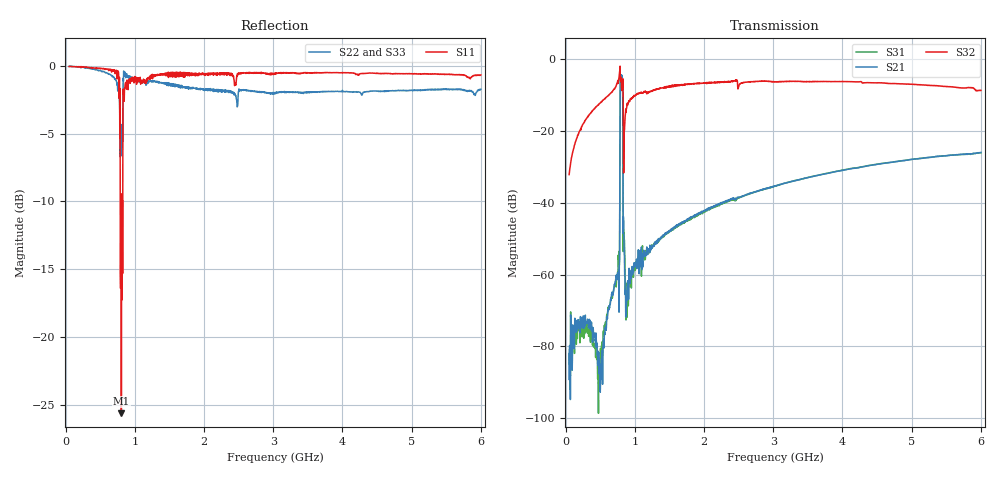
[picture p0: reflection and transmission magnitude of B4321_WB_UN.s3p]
! Matrix data file written by TouchstoneData, EPCOS AG
! FILENAME: "B4321_X10Y10_WB.snp"
! COMMENT: "(TS/B4321_X10Y10_WB.s3p) Epcos AG 2/4/2013 2"
! INFO: nport=3, nfreq=1601
! DATE: "Fri Mar  1 16:16:13 2013"
! USER: "Dan Wang"
! port | pin | signal
!  1  |  1  |  Input
!  2  |  3  |  Output
!  3  |  4  |  Output
# MHZ S RI R 50
! freq  reS11 imS11  reS12 imS12  reS13 imS13  ...
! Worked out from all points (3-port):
!   1601 points, 50 MHz to 6 GHz, reference 50 ohm
!   strongest paths, dB at 50 MHz, 1.538 GHz, 3.025 GHz, 4.513 GHz, 6 GHz:
!     S32: -32.2, -7.3, -6.4, -6.7, -8.8
!     S21: -82.0, -47.7, -35.4, -29.3, -26.1
!     S31: -84.8, -47.7, -35.5, -29.3, -26.1
!   lowest |S11| = -25.6 dB at 804.9 MHz (marker M1), VSWR 1.11, Z = 45.2 - j1.38 ohm
!   |S11| at or under -10 dB: 788.6 MHz to 798.5 MHz (9.91 MHz wide, 1.25 % of centre); 801.3 MHz to 819.7 MHz (18.39 MHz wide, 2.27 % of centre); 819.9 MHz to 825.1 MHz (5.28 MHz wide, 0.642 % of centre)
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50  0.9791 -0.1842  -3.82e-05 6.99e-05  5.63e-05 1.17e-05
    -3.82e-05 6.99e-05  0.9953 -0.0518  0.00112 0.0245
    5.63e-05 1.17e-05  0.00112 0.0245  0.9939 -0.0536
544.5938  -0.0893 -0.9736  -0.000116 -6.74e-06  -0.000158 -3.15e-05
          -0.000116 -6.74e-06  0.8103 -0.5016  0.1433 0.2254
          -0.000158 -3.15e-05  0.1433 0.2254  0.8063 -0.5062
749.125  -0.6607 -0.6801  -0.00102 -5.25e-06  -0.00105 -0.000112
         -0.00102 -5.25e-06  0.5317 -0.6625  0.3857 0.2825
         -0.00105 -0.000112  0.3857 0.2825  0.5265 -0.6668
804.9062  -0.0499 -0.0152  0.267 0.5385  -0.2688 -0.5306
          0.267 0.5385  0.4456 -0.1748  0.4404 -0.2218
          -0.2688 -0.5306  0.4404 -0.2218  0.4529 -0.1872
819.7812  0.1306 -0.2922  -0.4972 -0.1743  0.4968 0.1783
          -0.4972 -0.1743  0.5395 -0.2854  0.3695 -0.0745
          0.4968 0.1783  0.3695 -0.0745  0.5352 -0.293
860.6875  -0.0116 -0.8608  -0.000461 -0.000259  -0.000608 0.000216
          -0.000461 -0.000259  0.7695 -0.5162  0.1189 0.1118
          -0.000608 0.000216  0.1189 0.1118  0.7708 -0.5206
890.4375  -0.212 -0.854  -0.000587 0.000118  -0.00013 0.000321
          -0.000587 0.000118  0.7015 -0.5762  0.188 0.1517
          -0.00013 0.000321  0.188 0.1517  0.6983 -0.5797
1451.969  -0.6911 -0.6258  -0.00365 0.000251  -0.00363 0.000352
          -0.00365 0.000251  0.3493 -0.787  0.3846 0.1456
          -0.00363 0.000352  0.3846 0.1456  0.3489 -0.7858
3025  -0.9183 -0.1568  -0.0136 0.0103  -0.0135 0.0101
      -0.0136 0.0103  -0.2563 -0.7565  0.4465 -0.1714
      -0.0135 0.0101  0.4465 -0.1714  -0.2279 -0.7672
6000  -0.8264 0.4203  -0.00203 0.0498  -0.00218 0.0493
      -0.00203 0.0498  -0.8023 -0.1771  0.0748 -0.3546
      -0.00218 0.0493  0.0748 -0.3546  -0.8001 -0.1711
